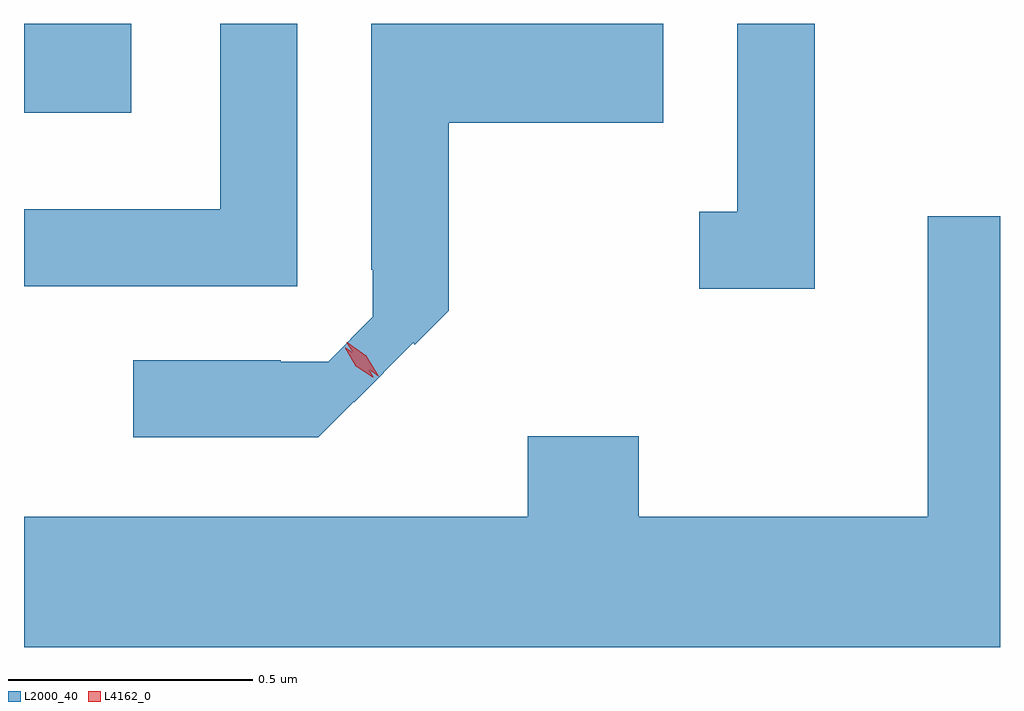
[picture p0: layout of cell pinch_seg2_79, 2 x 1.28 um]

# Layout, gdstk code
import gdstk
lib = gdstk.Library(unit=1e-6, precision=1e-09)
def R(c, l, rs):  # rectangles x0, y0, x1, y1
    for r in rs: c.add(gdstk.rectangle(r[:2], r[2:], *l))
def P(c, l, *ps):  # polygons
    for p in ps: c.add(gdstk.Polygon(p, *l))
L2000_40 = (2000, 40)
L4162_0 = (4162, 0)

pinch_seg2_79 = lib.new_cell('pinch_seg2_79')
R(pinch_seg2_79, L2000_40, [(1223.029,1040.531,1223.249,1040.714)])
P(pinch_seg2_79, L2000_40, [(1223.705,1039.939),(1223.706,1039.938),(1223.827,1040.06),(1223.83,1040.056),(1223.899,1040.126),(1223.899,1040.511),(1224.339,1040.511),(1224.339,1040.714),(1223.741,1040.714),(1223.741,1040.21),(1223.744,1040.21),(1223.744,1040.113),(1223.652,1040.021),(1223.555,1040.021),(1223.555,1040.024),(1223.253,1040.024),(1223.253,1039.866),(1223.632,1039.866)],
  [(1224.649,1040.714),(1224.491,1040.714),(1224.491,1040.329),(1224.413,1040.329),(1224.413,1040.171),(1224.649,1040.171)],
  [(1223.589,1040.714),(1223.431,1040.714),(1223.431,1040.334),(1223.029,1040.334),(1223.029,1040.176),(1223.589,1040.176)],
  [(1225.029,1040.319),(1224.881,1040.319),(1224.881,1039.704),(1224.289,1039.704),(1224.289,1039.869),(1224.061,1039.869),(1224.061,1039.704),(1223.029,1039.704),(1223.029,1039.436),(1225.029,1039.436)])
P(pinch_seg2_79, L4162_0, [(1223.755,1039.992),(1223.716,1040.02),(1223.69,1040.06),(1223.69,1040.061),(1223.691,1040.061),(1223.73,1040.033),(1223.756,1039.992),(1223.756,1039.992)],
  [(1223.744,1039.989),(1223.709,1040.012),(1223.687,1040.049),(1223.687,1040.05),(1223.688,1040.05),(1223.723,1040.026),(1223.745,1039.99),(1223.745,1039.989)])

lib.write_gds('pinch_seg2_79.gds')
